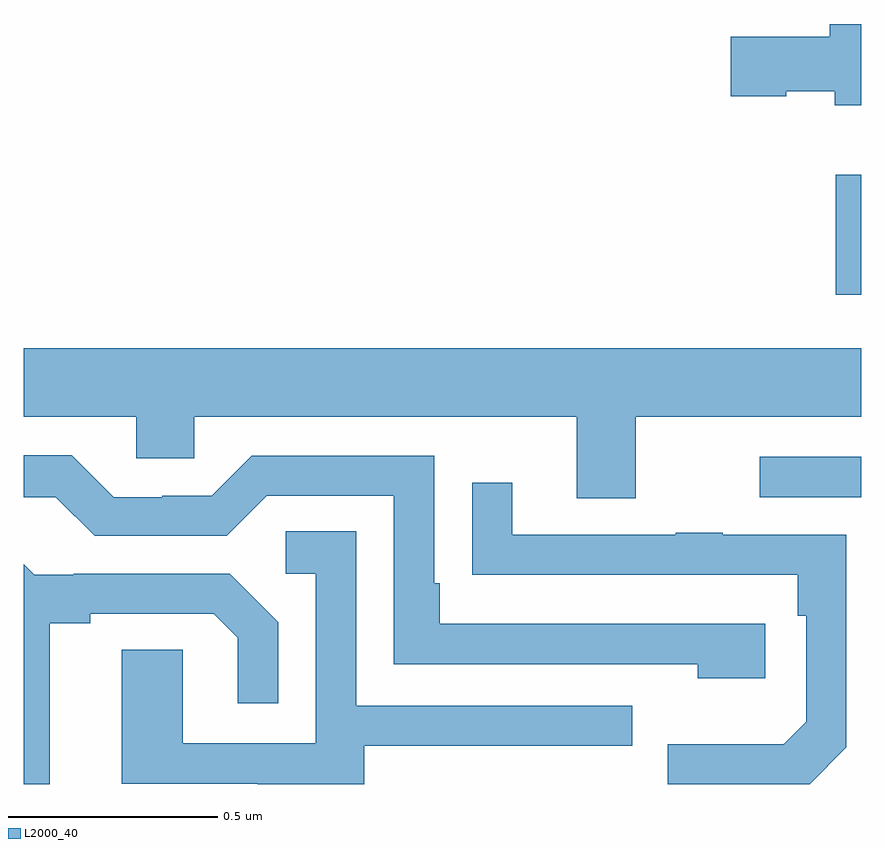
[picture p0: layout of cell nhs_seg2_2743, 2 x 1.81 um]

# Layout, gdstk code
import gdstk
lib = gdstk.Library(unit=1e-6, precision=1e-09)
def R(c, l, rs):  # rectangles x0, y0, x1, y1
    for r in rs: c.add(gdstk.rectangle(r[:2], r[2:], *l))
def P(c, l, *ps):  # polygons
    for p in ps: c.add(gdstk.Polygon(p, *l))
L2000_40 = (2000, 40)

nhs_seg2_2743 = lib.new_cell('nhs_seg2_2743')
R(nhs_seg2_2743, L2000_40, [(146.757,607.485,147,607.581), (146.939,607.968,147,608.254)])
P(nhs_seg2_2743, L2000_40, [(147,608.614),(146.924,608.614),(146.924,608.583),(146.688,608.583),(146.688,608.441),(146.82,608.441),(146.82,608.453),(146.936,608.453),(146.936,608.42),(147,608.42)],
  [(146.461,607.676),(147,607.676),(147,607.84),(145,607.84),(145,607.676),(145.269,607.676),(145.269,607.578),(145.407,607.578),(145.407,607.676),(146.321,607.676),(146.321,607.482),(146.461,607.482)],
  [(146.77,607.182),(145.993,607.182),(145.993,607.279),(145.98,607.279),(145.98,607.584),(145.545,607.584),(145.449,607.488),(145.331,607.488),(145.331,607.485),(145.215,607.485),(145.115,607.585),(145,607.585),(145,607.485),(145.077,607.485),(145.17,607.392),(145.485,607.392),(145.581,607.488),(145.884,607.488),(145.884,607.086),(146.609,607.086),(146.609,607.052),(146.77,607.052)],
  [(146.964,606.888),(146.964,607.395),(146.669,607.395),(146.669,607.4),(146.557,607.4),(146.557,607.395),(146.167,607.395),(146.167,607.519),(146.071,607.519),(146.071,607.3),(146.173,607.3),(146.173,607.299),(146.848,607.299),(146.848,607.202),(146.868,607.202),(146.868,606.948),(146.815,606.895),(146.538,606.895),(146.538,606.8),(146.876,606.8)],
  [(145.813,606.891),(146.453,606.891),(146.453,606.987),(145.794,606.987),(145.794,607.403),(145.626,607.403),(145.626,607.302),(145.698,607.302),(145.698,606.897),(145.38,606.897),(145.38,607.121),(145.235,607.121),(145.235,606.801),(145.559,606.801),(145.559,606.8),(145.813,606.8)],
  [(145.063,607.184),(145.159,607.184),(145.159,607.206),(145.454,607.206),(145.511,607.149),(145.511,606.993),(145.608,606.993),(145.608,607.186),(145.492,607.302),(145.12,607.302),(145.12,607.299),(145.026,607.299),(145,607.325),(145,606.8),(145.063,606.8)])

lib.write_gds('nhs_seg2_2743.gds')
